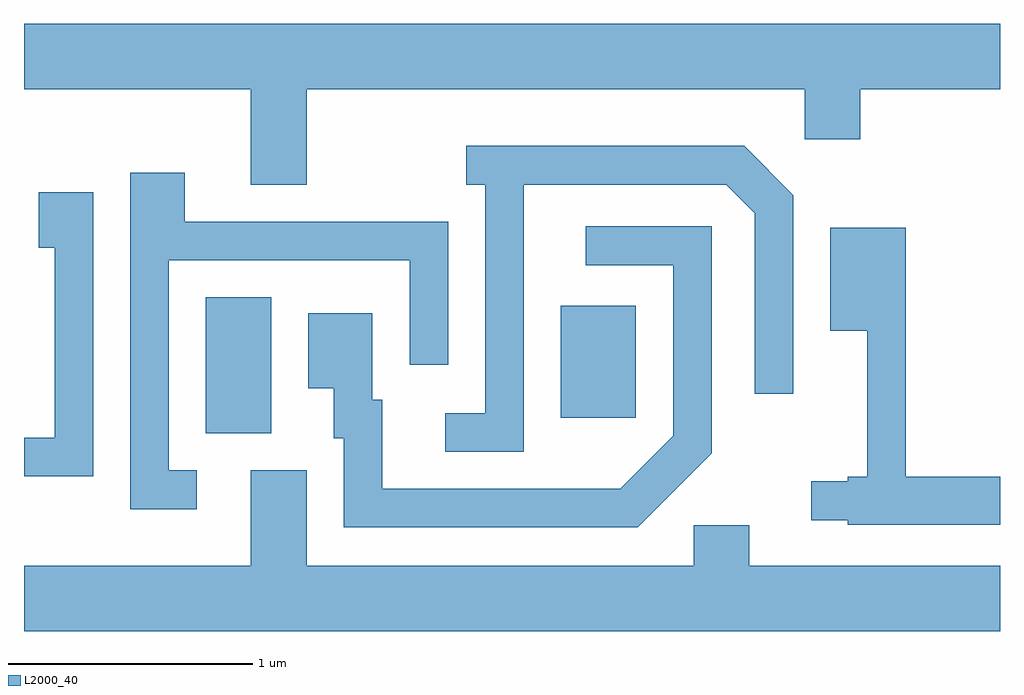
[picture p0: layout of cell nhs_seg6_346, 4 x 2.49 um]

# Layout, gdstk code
import gdstk
lib = gdstk.Library(unit=1e-6, precision=1e-09)
def R(c, l, rs):  # rectangles x0, y0, x1, y1
    for r in rs: c.add(gdstk.rectangle(r[:2], r[2:], *l))
def P(c, l, *ps):  # polygons
    for p in ps: c.add(gdstk.Polygon(p, *l))
L2000_40 = (2000, 40)

nhs_seg6_346 = lib.new_cell('nhs_seg6_346')
R(nhs_seg6_346, L2000_40, [(196.356,1544.186,196.624,1544.744), (197.811,1544.251,198.119,1544.709)])
P(nhs_seg6_346, L2000_40, [(196.769,1545.596),(198.811,1545.596),(198.811,1545.391),(199.039,1545.391),(199.039,1545.596),(199.611,1545.596),(199.611,1545.864),(195.611,1545.864),(195.611,1545.596),(196.541,1545.596),(196.541,1545.206),(196.769,1545.206)],
  [(197.659,1545.206),(198.489,1545.206),(198.606,1545.089),(198.606,1544.348),(198.764,1544.348),(198.764,1545.162),(198.562,1545.364),(197.423,1545.364),(197.423,1545.206),(197.501,1545.206),(197.501,1544.269),(197.338,1544.269),(197.338,1544.111),(197.659,1544.111)],
  [(196.318,1544.034),(196.204,1544.034),(196.204,1544.896),(197.191,1544.896),(197.191,1544.468),(197.349,1544.468),(197.349,1545.054),(196.269,1545.054),(196.269,1545.254),(196.046,1545.254),(196.046,1543.876),(196.318,1543.876)],
  [(195.894,1545.174),(195.671,1545.174),(195.671,1544.946),(195.736,1544.946),(195.736,1544.169),(195.611,1544.169),(195.611,1544.011),(195.894,1544.011)],
  [(198.429,1544.104),(198.429,1545.034),(197.913,1545.034),(197.913,1544.876),(198.271,1544.876),(198.271,1544.177),(198.054,1543.959),(197.079,1543.959),(197.079,1544.324),(197.039,1544.324),(197.039,1544.679),(196.776,1544.679),(196.776,1544.371),(196.881,1544.371),(196.881,1544.166),(196.921,1544.166),(196.921,1543.801),(198.127,1543.801)],
  [(199.611,1544.009),(199.224,1544.009),(199.224,1545.029),(198.916,1545.029),(198.916,1544.606),(199.066,1544.606),(199.066,1544.009),(198.986,1544.009),(198.986,1543.989),(198.838,1543.989),(198.838,1543.831),(198.986,1543.831),(198.986,1543.811),(199.611,1543.811)],
  [(199.611,1543.644),(198.584,1543.644),(198.584,1543.809),(198.356,1543.809),(198.356,1543.644),(196.769,1543.644),(196.769,1544.034),(196.541,1544.034),(196.541,1543.644),(195.611,1543.644),(195.611,1543.376),(199.611,1543.376)])

lib.write_gds('nhs_seg6_346.gds')
